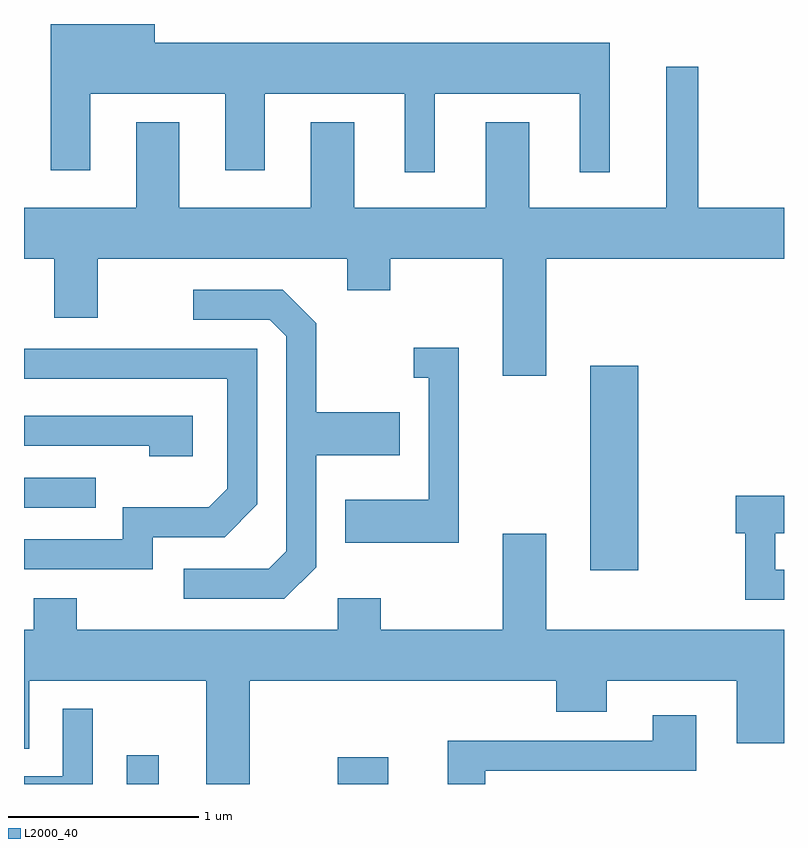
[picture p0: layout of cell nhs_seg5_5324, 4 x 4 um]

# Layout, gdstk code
import gdstk
lib = gdstk.Library(unit=1e-6, precision=1e-09)
def R(c, l, rs):  # rectangles x0, y0, x1, y1
    for r in rs: c.add(gdstk.rectangle(r[:2], r[2:], *l))
def P(c, l, *ps):  # polygons
    for p in ps: c.add(gdstk.Polygon(p, *l))
L2000_40 = (2000, 40)

nhs_seg5_5324 = lib.new_cell('nhs_seg5_5324')
R(nhs_seg5_5324, L2000_40, [(344.151,1414.072,344.319,1414.223), (345.261,1414.072,345.529,1414.214), (346.591,1415.196,346.844,1416.274), (343.611,1415.526,343.988,1415.684)])
P(nhs_seg5_5324, L2000_40, [(345.774,1417.706),(346.536,1417.706),(346.536,1417.293),(346.694,1417.293),(346.694,1417.974),(344.299,1417.974),(344.299,1418.072),(343.751,1418.072),(343.751,1417.301),(343.959,1417.301),(343.959,1417.706),(344.671,1417.706),(344.671,1417.301),(344.879,1417.301),(344.879,1417.706),(345.616,1417.706),(345.616,1417.293),(345.774,1417.293)],
  [(346.359,1416.836),(347.611,1416.836),(347.611,1417.104),(347.159,1417.104),(347.159,1417.848),(346.991,1417.848),(346.991,1417.104),(346.269,1417.104),(346.269,1417.554),(346.041,1417.554),(346.041,1417.104),(345.349,1417.104),(345.349,1417.554),(345.121,1417.554),(345.121,1417.104),(344.429,1417.104),(344.429,1417.554),(344.201,1417.554),(344.201,1417.104),(343.611,1417.104),(343.611,1416.836),(343.771,1416.836),(343.771,1416.526),(343.999,1416.526),(343.999,1416.836),(345.311,1416.836),(345.311,1416.671),(345.539,1416.671),(345.539,1416.836),(346.131,1416.836),(346.131,1416.221),(346.359,1416.221)],
  [(345.149,1415.214),(345.149,1415.801),(345.589,1415.801),(345.589,1416.029),(345.149,1416.029),(345.149,1416.497),(344.972,1416.674),(344.503,1416.674),(344.503,1416.516),(344.904,1416.516),(344.991,1416.429),(344.991,1415.297),(344.899,1415.204),(344.453,1415.204),(344.453,1415.046),(344.982,1415.046)],
  [(345.899,1416.369),(345.663,1416.369),(345.663,1416.211),(345.741,1416.211),(345.741,1415.569),(345.301,1415.569),(345.301,1415.341),(345.899,1415.341)],
  [(344.289,1415.371),(344.667,1415.371),(344.839,1415.544),(344.839,1416.364),(343.611,1416.364),(343.611,1416.206),(344.681,1416.206),(344.681,1415.627),(344.584,1415.529),(344.131,1415.529),(344.131,1415.359),(343.611,1415.359),(343.611,1415.201),(344.289,1415.201)],
  [(344.499,1416.009),(343.611,1416.009),(343.611,1415.851),(344.271,1415.851),(344.271,1415.796),(344.499,1415.796)],
  [(347.611,1415.199),(347.564,1415.199),(347.564,1415.391),(347.611,1415.391),(347.611,1415.589),(347.356,1415.589),(347.356,1415.391),(347.406,1415.391),(347.406,1415.041),(347.611,1415.041)],
  [(344.799,1414.616),(346.411,1414.616),(346.411,1414.451),(346.679,1414.451),(346.679,1414.616),(347.361,1414.616),(347.361,1414.286),(347.611,1414.286),(347.611,1414.884),(346.359,1414.884),(346.359,1415.389),(346.131,1415.389),(346.131,1414.884),(345.489,1414.884),(345.489,1415.049),(345.261,1415.049),(345.261,1414.884),(343.889,1414.884),(343.889,1415.049),(343.661,1415.049),(343.661,1414.884),(343.611,1414.884),(343.611,1414.258),(343.639,1414.258),(343.639,1414.616),(344.571,1414.616),(344.571,1414.072),(344.799,1414.072)],
  [(343.974,1414.468),(343.816,1414.468),(343.816,1414.114),(343.611,1414.114),(343.611,1414.072),(343.974,1414.072)],
  [(346.039,1414.141),(347.149,1414.141),(347.149,1414.434),(346.921,1414.434),(346.921,1414.299),(345.841,1414.299),(345.841,1414.072),(346.039,1414.072)])

lib.write_gds('nhs_seg5_5324.gds')
